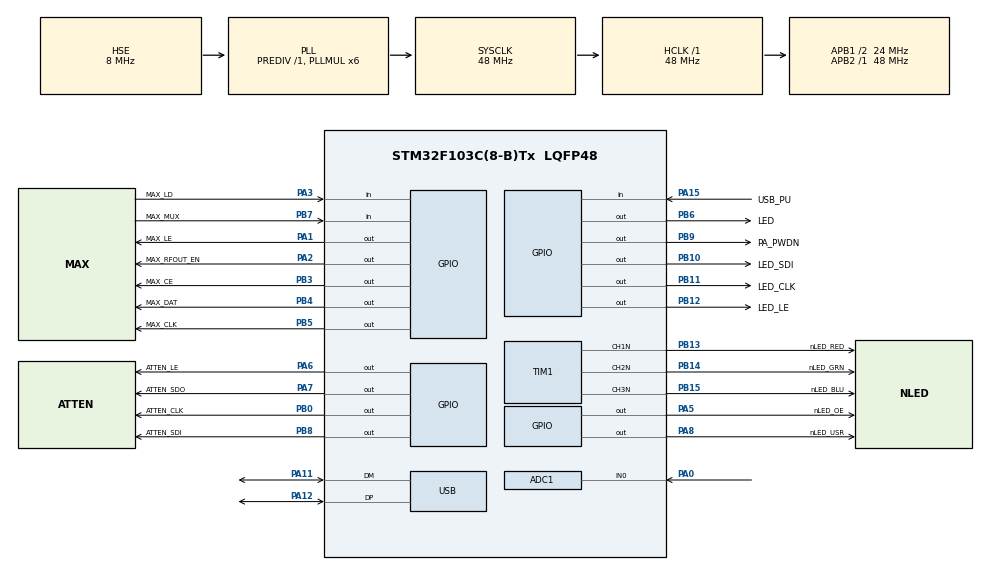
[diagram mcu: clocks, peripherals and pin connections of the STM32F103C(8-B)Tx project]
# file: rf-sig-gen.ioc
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ADC1.Channel-1\#ChannelRegularConversion=ADC_CHANNEL_0
ADC1.ContinuousConvMode=ENABLE
ADC1.NbrOfConversion=1
ADC1.NbrOfConversionFlag=1
ADC1.Rank-1\#ChannelRegularConversion=1
ADC1.SamplingTime-1\#ChannelRegularConversion=ADC_SAMPLETIME_1CYCLE_5
ADC1.master=1
Mcu.Family=STM32F1
Mcu.Name=STM32F103C(8-B)Tx
Mcu.Package=LQFP48
NVIC.PriorityGroup=NVIC_PRIORITYGROUP_4
NVIC.USB_LP_CAN1_RX0_IRQn=true\:0\:0\:false\:false\:true\:false\:true
PA0-WKUP.Signal=ADCx_IN0
PA1.GPIO_Label=MAX_LE
PA1.Signal=GPIO_Output
PA11.Mode=Device
PA11.Signal=USB_DM
PA12.Mode=Device
PA12.Signal=USB_DP
PA13.GPIO_Label=SWDIO
PA13.Mode=Serial_Wire
PA13.Signal=SYS_JTMS-SWDIO
PA14.GPIO_Label=SWDCLK
PA14.Mode=Serial_Wire
PA14.Signal=SYS_JTCK-SWCLK
PA15.GPIO_Label=USB_PU
PA15.Signal=GPIO_Input
PA2.GPIO_Label=MAX_RFOUT_EN
PA2.Signal=GPIO_Output
PA3.GPIO_Label=MAX_LD
PA3.Signal=GPIO_Input
PA5.GPIO_Label=nLED_OE
PA5.Signal=GPIO_Output
PA6.GPIO_Label=ATTEN_LE
PA6.Signal=GPIO_Output
PA7.GPIO_Label=ATTEN_SDO
PA7.Signal=GPIO_Output
PA8.GPIO_Label=nLED_USR
PA8.Signal=GPIO_Output
PB0.GPIO_Label=ATTEN_CLK
PB0.Signal=GPIO_Output
PB10.GPIO_Label=LED_SDI
PB10.Signal=GPIO_Output
PB11.GPIO_Label=LED_CLK
PB11.Signal=GPIO_Output
PB12.GPIO_Label=LED_LE
PB12.Signal=GPIO_Output
PB13.GPIO_Label=nLED_RED
PB13.Mode=Output Compare1 CH1N
PB13.Signal=TIM1_CH1N
PB14.GPIO_Label=nLED_GRN
PB14.Mode=Output Compare2 CH2N
PB14.Signal=TIM1_CH2N
PB15.GPIO_Label=nLED_BLU
PB15.Mode=Output Compare3 CH3N
PB15.Signal=TIM1_CH3N
PB3.GPIO_Label=MAX_CE
PB3.Signal=GPIO_Output
PB4.GPIO_Label=MAX_DAT
PB4.Signal=GPIO_Output
PB5.GPIO_Label=MAX_CLK
PB5.Signal=GPIO_Output
PB6.GPIO_Label=LED
PB6.Signal=GPIO_Output
PB7.GPIO_Label=MAX_MUX
PB7.Signal=GPIO_Input
PB8.GPIO_Label=ATTEN_SDI
PB8.Signal=GPIO_Output
PB9.GPIO_Label=PA_PWDN
PB9.Signal=GPIO_Output
PD0-OSC_IN.Mode=HSE-External-Oscillator
PD0-OSC_IN.Signal=RCC_OSC_IN
PD1-OSC_OUT.Mode=HSE-External-Oscillator
PD1-OSC_OUT.Signal=RCC_OSC_OUT
ProjectManager.HeapSize=0x200
ProjectManager.StackSize=0x400
ProjectManager.TargetToolchain=Makefile
RCC.ADCPresc=RCC_ADCPCLK2_DIV4
RCC.AHBFreq_Value=48000000
RCC.APB1CLKDivider=RCC_HCLK_DIV2
RCC.APB1Freq_Value=24000000
RCC.APB1TimFreq_Value=48000000
RCC.APB2Freq_Value=48000000
RCC.APB2TimFreq_Value=48000000
RCC.HCLKFreq_Value=48000000
RCC.PLLMUL=RCC_PLL_MUL6
RCC.SYSCLKFreq_VALUE=48000000
RCC.SYSCLKSource=RCC_SYSCLKSOURCE_PLLCLK
RCC.USBFreq_Value=48000000
SH.ADCx_IN0.0=ADC1_IN0,IN0
TIM1.Channel-Output\ Compare1\ CH1N=TIM_CHANNEL_1
TIM1.Channel-Output\ Compare2\ CH2N=TIM_CHANNEL_2
TIM1.Channel-Output\ Compare3\ CH3N=TIM_CHANNEL_3
TIM1.OCMode_1=TIM_OCMODE_TOGGLE
TIM1.OCMode_2=TIM_OCMODE_TOGGLE
TIM1.OCMode_3=TIM_OCMODE_TOGGLE
TIM1.OCNIdleState_1=TIM_OCNIDLESTATE_SET
TIM1.OCNIdleState_2=TIM_OCNIDLESTATE_SET
TIM1.OCNIdleState_3=TIM_OCNIDLESTATE_SET
USB_DEVICE.CLASS_NAME_FS=CDC
USB_DEVICE.MANUFACTURER_STRING=JOSHAJOHNSON
USB_DEVICE.PID_CDC_FS=0xC0DE
USB_DEVICE.PRODUCT_STRING_CDC_FS=RF Signal Generator
USB_DEVICE.VID=0xFEED
USB_DEVICE.VirtualMode=Cdc
USB_DEVICE.VirtualModeFS=Cdc_FS
VP_USB_DEVICE_VS_USB_DEVICE_CDC_FS.Mode=CDC_FS
board=custom

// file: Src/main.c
/* USER CODE BEGIN Header */
/**
  ******************************************************************************
  * @file           : main.c
  * @brief          : Main program body
  ******************************************************************************
  * @attention
  *
  * <h2><center>&copy; Copyright (c) 2020 STMicroelectronics.
  * All rights reserved.</center></h2>
  *
  * This software component is licensed by ST under BSD 3-Clause license,
  * the "License"; You may not use this file except in compliance with the
  * License. You may obtain a copy of the License at:
  *                        opensource.org/licenses/BSD-3-Clause
  *
  ******************************************************************************
  */
/* USER CODE END Header */

#include "main.h"
#include "adc.h"
#include "tim.h"
#include "usb_device.h"
#include "gpio.h"

/* USER CODE BEGIN Includes */
#include <stdio.h>
#include <string.h>
#include "usbd_cdc_if.h"
#include "dwt_stm32_delay.h"
#include "commandParser.h"
#include "max2871.h"
#include "max2871_registers.h"
#include "txChain.h"
#include "STP08CP05.h"
/* USER CODE END Includes */

/* USER CODE BEGIN PTD */
FIFO RX_FIFO = {.head = 0, .tail = 0};
/* USER CODE END PTD */

/* USER CODE BEGIN PV */

extern struct MAX2871Struct max2871Status;
extern struct txStruct txStatus;

/* USER CODE END PV */

void SystemClock_Config(void);
/* USER CODE BEGIN PFP */
void enumerateUSB(void);
/* USER CODE END PFP */

int main(void)
{

  /* MCU Configuration--------------------------------------------------------*/

  /* Reset of all peripherals, Initializes the Flash interface and the Systick. */
  HAL_Init();

  /* Configure the system clock */
  SystemClock_Config();

  /* Initialize all configured peripherals */
  MX_GPIO_Init();
  MX_ADC1_Init();
  MX_USB_DEVICE_Init();
  MX_TIM1_Init();
  /* USER CODE BEGIN 2 */
  DWT_Delay_Init();
  enumerateUSB(); // Force USB enumeration
  txChainInit(&max2871Status, &txStatus);
  HAL_ADC_Start(&hadc1);
  HAL_GPIO_WritePin(LED_CLK_GPIO_Port, LED_CLK_Pin, 0); //  LED Control

  /* USER CODE END 2 */

  /* Infinite loop */
  /* USER CODE BEGIN WHILE */
  while (1)
  {
    // Wait for a command
	  if (RX_FIFO.dataReady == 1)
	  {
		  commandParser(&max2871Status, &txStatus);
	  }
    /* USER CODE END WHILE */

  }
}

void SystemClock_Config(void)
{
  RCC_OscInitTypeDef RCC_OscInitStruct = {0};
  RCC_ClkInitTypeDef RCC_ClkInitStruct = {0};
  RCC_PeriphCLKInitTypeDef PeriphClkInit = {0};

  /** Initializes the CPU, AHB and APB busses clocks
  */
  RCC_OscInitStruct.OscillatorType = RCC_OSCILLATORTYPE_HSE;
  RCC_OscInitStruct.HSEState = RCC_HSE_ON;
  RCC_OscInitStruct.HSEPredivValue = RCC_HSE_PREDIV_DIV1;
  RCC_OscInitStruct.HSIState = RCC_HSI_ON;
  RCC_OscInitStruct.PLL.PLLState = RCC_PLL_ON;
  RCC_OscInitStruct.PLL.PLLSource = RCC_PLLSOURCE_HSE;
  RCC_OscInitStruct.PLL.PLLMUL = RCC_PLL_MUL6;
  if (HAL_RCC_OscConfig(&RCC_OscInitStruct) != HAL_OK)
  {
    Error_Handler();
  }
  /** Initializes the CPU, AHB and APB busses clocks
  */
  RCC_ClkInitStruct.ClockType = RCC_CLOCKTYPE_HCLK|RCC_CLOCKTYPE_SYSCLK
                              |RCC_CLOCKTYPE_PCLK1|RCC_CLOCKTYPE_PCLK2;
  RCC_ClkInitStruct.SYSCLKSource = RCC_SYSCLKSOURCE_PLLCLK;
  RCC_ClkInitStruct.AHBCLKDivider = RCC_SYSCLK_DIV1;
  RCC_ClkInitStruct.APB1CLKDivider = RCC_HCLK_DIV2;
  RCC_ClkInitStruct.APB2CLKDivider = RCC_HCLK_DIV1;

  if (HAL_RCC_ClockConfig(&RCC_ClkInitStruct, FLASH_LATENCY_1) != HAL_OK)
  {
    Error_Handler();
  }
  PeriphClkInit.PeriphClockSelection = RCC_PERIPHCLK_ADC|RCC_PERIPHCLK_USB;
  PeriphClkInit.AdcClockSelection = RCC_ADCPCLK2_DIV4;
  PeriphClkInit.UsbClockSelection = RCC_USBCLKSOURCE_PLL;
  if (HAL_RCCEx_PeriphCLKConfig(&PeriphClkInit) != HAL_OK)
  {
    Error_Handler();
  }
}

/* USER CODE BEGIN 4 */
void enumerateUSB(void){
  GPIO_InitTypeDef GPIO_InitStruct = {0};

  GPIO_InitStruct.Pin = USB_PU_Pin;
  GPIO_InitStruct.Mode = GPIO_MODE_OUTPUT_PP;
  GPIO_InitStruct.Pull = GPIO_NOPULL;
  GPIO_InitStruct.Speed = GPIO_SPEED_FREQ_LOW;
  HAL_GPIO_Init(GPIOA, &GPIO_InitStruct);
  HAL_GPIO_WritePin(USB_PU_GPIO_Port, USB_PU_Pin, 0);

  HAL_Delay(500);

  GPIO_InitStruct.Pin = USB_PU_Pin;
  GPIO_InitStruct.Mode = GPIO_MODE_INPUT;
  GPIO_InitStruct.Pull = GPIO_NOPULL;
  HAL_GPIO_Init(GPIOA, &GPIO_InitStruct);
}
/* USER CODE END 4 */

void Error_Handler(void)
{
}

/************************ (C) COPYRIGHT STMicroelectronics *****END OF FILE****/
